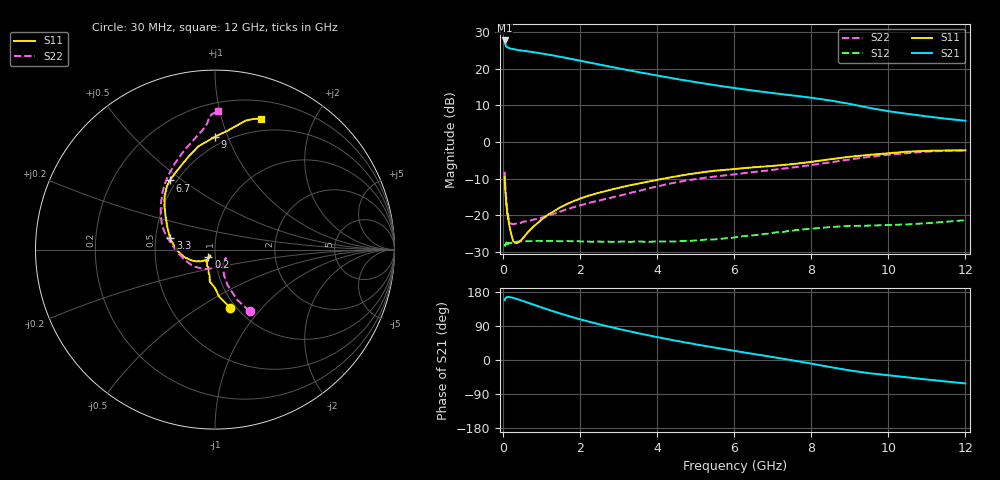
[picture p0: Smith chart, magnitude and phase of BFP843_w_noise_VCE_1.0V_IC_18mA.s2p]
! Infineon Technologies  Discrete & RF Semiconductors
! BFP843
! VCE =  1.0 V,  IC =  18 mA
! Common Emitter S-Parameters:  Aug 2013
# GHz  S  MA  R  50
!  f  S11  S21  S12  S22
! GHz  MAG  ANG  MAG  ANG  MAG  ANG  MAG  ANG
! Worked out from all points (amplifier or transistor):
!   103 points, 30 MHz to 12 GHz, reference 50 ohm
!   highest |S21| = 27.7 dB at 30 MHz (marker M1)
!   |S21| within 3 dB of that: start of sweep to 649.1 MHz
!   unconditionally stable (mu >= 1): 107.5 MHz to 119.3 MHz; 120.5 MHz to 11.03 GHz
!   at 400 MHz: K = 1.02, MAG = 25.2 dB, |S12| = -27.2 dB
!   at 3.7 GHz: K = 1.35, MAG = 19.4 dB, |S12| = -27.2 dB
!   at 12 GHz: K = 0.89, MSG = 13.6 dB, |S12| = -21.3 dB
!   lowest NFmin = 1.02 dB at 450 MHz
!   S11 on the Smith chart (normalised r, x): 30 MHz: 0.94, -0.69; 200 MHz: 0.93, -0.08; 3.3 GHz: 0.60, +0.08; 6.7 GHz: 0.46, +0.45; 9 GHz: 0.43, +0.90; 12 GHz: 0.38, +1.35
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0.03  0.3347 -75.5  24.22 158.3  0.038 28.2  0.3931 -60.7
0.04  0.261 -85.2  22.34 160.1  0.0393 19.8  0.3041 -66.3
0.05  0.2129 -90.2  21.32 162.9  0.0386 15.3  0.2419 -68.7
0.07  0.1464 -102.1  20.13 164.8  0.042 11.4  0.176 -70.1
0.1  0.1036 -111.7  19.52 166.2  0.0427 9.3  0.1202 -67.5
0.13  0.0858 -120.7  19.27 166.6  0.0418 7.7  0.0937 -62.1
0.2  0.0559 -130.9  18.67 165.3  0.0419 7.7  0.0767 -46.8
0.7  0.0641 -127.3  16.99 148.8  0.0445 1.7  0.0851 -58.0
1.1  0.0966 -138.4  15.74 135.0  0.0447 1.5  0.0966 -86.4
1.3  0.1127 -145.4  15.08 128.3  0.0447 0.3  0.1049 -98.4
1.6  0.1384 -153.6  14.1 118.9  0.0449 -0.2  0.1191 -114.4
2.1  0.1771 -166.9  12.48 104.4  0.0442 -0.3  0.1411 -136.2
2.7  0.2175 178.3  10.8 89.0  0.044 -0.1  0.1691 -156.6
3.3  0.258 165.1  9.404 75.1  0.0433 -0.1  0.2025 -173.5
4.1  0.312 150.2  7.869 58.3  0.044 1.9  0.2553 169.6
5  0.3755 138.5  6.539 41.3  0.0455 4.5  0.3125 157.7
6.1  0.4331 129.1  5.351 22.5  0.0508 8.2  0.3675 145.2
6.7  0.4609 123.3  4.862 12.7  0.0549 7.7  0.4005 138.6
8.5  0.5827 99.2  3.671 -18.9  0.0693 -0.7  0.5283 115.2
9  0.6293 89.9  3.305 -27.7  0.0717 -4.5  0.5783 107.3
10.5  0.7387 76.6  2.418 -45.9  0.0753 -10.7  0.7042 93.5
12  0.7692 70.5  1.947 -61.9  0.0859 -17.0  0.7697 88.6
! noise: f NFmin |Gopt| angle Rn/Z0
0.45  1.02  0.09  -173  0.03
0.9  1.03  0.1  -164  0.07
1.5  1.05  0.1  -156  0.14
1.9  1.06  0.1  -147  0.2
2.4  1.09  0.1  -134  0.26
3.5  1.13  0.09  -117  0.31
5.5  1.23  0.23  -112  0.38
10  1.81  0.51  -62  0.52
